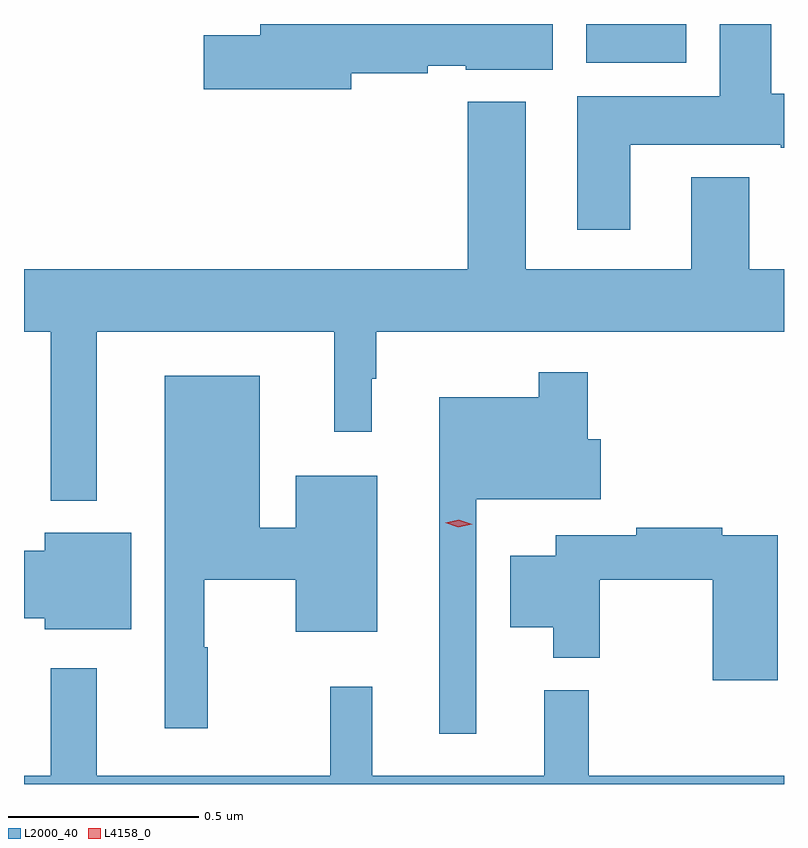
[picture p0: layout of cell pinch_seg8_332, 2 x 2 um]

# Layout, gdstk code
import gdstk
lib = gdstk.Library(unit=1e-6, precision=1e-09)
def R(c, l, rs):  # rectangles x0, y0, x1, y1
    for r in rs: c.add(gdstk.rectangle(r[:2], r[2:], *l))
def P(c, l, *ps):  # polygons
    for p in ps: c.add(gdstk.Polygon(p, *l))
L2000_40 = (2000, 40)
L4158_0 = (4158, 0)

pinch_seg8_332 = lib.new_cell('pinch_seg8_332')
R(pinch_seg8_332, L2000_40, [(616.115,1151.84,616.378,1151.942)])
P(pinch_seg8_332, L2000_40, [(615.496,1151.812),(615.698,1151.812),(615.698,1151.832),(615.798,1151.832),(615.798,1151.822),(616.027,1151.822),(616.027,1151.942),(615.257,1151.942),(615.257,1151.912),(615.108,1151.912),(615.108,1151.77),(615.496,1151.77)],
  [(616.231,1151.624),(616.627,1151.624),(616.627,1151.617),(616.635,1151.617),(616.635,1151.759),(616.601,1151.759),(616.601,1151.942),(616.466,1151.942),(616.466,1151.752),(616.091,1151.752),(616.091,1151.4),(616.231,1151.4)],
  [(614.827,1151.132),(615.452,1151.132),(615.452,1150.869),(615.55,1150.869),(615.55,1151.009),(615.562,1151.009),(615.562,1151.132),(616.635,1151.132),(616.635,1151.296),(616.544,1151.296),(616.544,1151.539),(616.391,1151.539),(616.391,1151.296),(615.955,1151.296),(615.955,1151.737),(615.803,1151.737),(615.803,1151.296),(614.635,1151.296),(614.635,1151.132),(614.706,1151.132),(614.706,1150.688),(614.827,1150.688)],
  [(615.825,1150.691),(616.153,1150.691),(616.153,1150.849),(616.118,1150.849),(616.118,1151.026),(615.99,1151.026),(615.99,1150.96),(615.728,1150.96),(615.728,1150.074),(615.825,1150.074)],
  [(615.119,1150.302),(615.109,1150.302),(615.109,1150.48),(615.35,1150.48),(615.35,1150.343),(615.565,1150.343),(615.565,1150.753),(615.35,1150.753),(615.35,1150.616),(615.256,1150.616),(615.256,1151.017),(615.005,1151.017),(615.005,1150.089),(615.119,1150.089)],
  [(616.619,1150.596),(616.472,1150.596),(616.472,1150.616),(616.246,1150.616),(616.246,1150.596),(616.034,1150.596),(616.034,1150.543),(615.914,1150.543),(615.914,1150.355),(616.028,1150.355),(616.028,1150.274),(616.15,1150.274),(616.15,1150.48),(616.448,1150.48),(616.448,1150.215),(616.619,1150.215)],
  [(614.917,1150.603),(614.69,1150.603),(614.69,1150.556),(614.635,1150.556),(614.635,1150.378),(614.69,1150.378),(614.69,1150.349),(614.917,1150.349)],
  [(616.121,1150.189),(616.004,1150.189),(616.004,1149.964),(615.551,1149.964),(615.551,1150.198),(615.441,1150.198),(615.441,1149.964),(614.827,1149.964),(614.827,1150.246),(614.706,1150.246),(614.706,1149.964),(614.635,1149.964),(614.635,1149.942),(616.635,1149.942),(616.635,1149.964),(616.121,1149.964)])
P(pinch_seg8_332, L4158_0, [(615.778,1150.618),(615.744,1150.63),(615.743,1150.63),(615.744,1150.63),(615.779,1150.638),(615.814,1150.626),(615.814,1150.626),(615.814,1150.625)])

lib.write_gds('pinch_seg8_332.gds')
